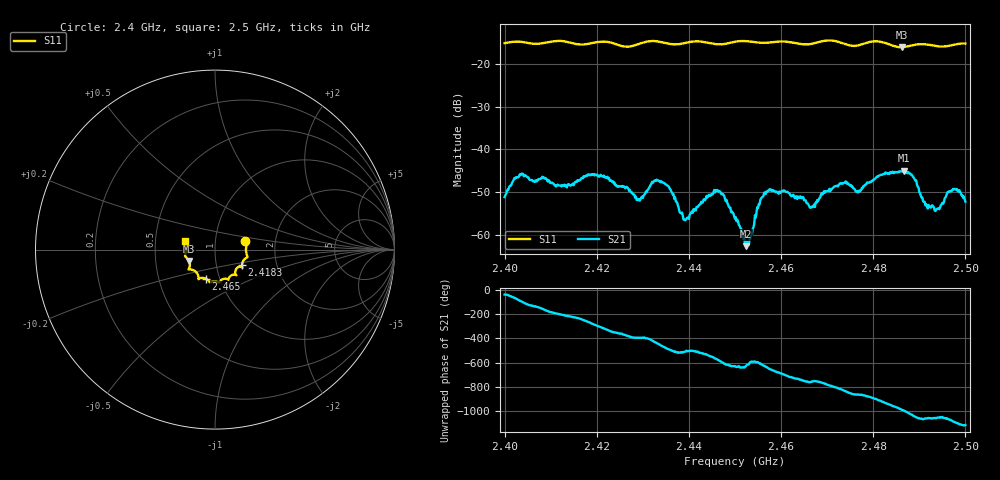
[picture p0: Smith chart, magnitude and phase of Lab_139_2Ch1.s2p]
# Hz S RI R 50
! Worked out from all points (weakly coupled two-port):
!   601 points, 2.4 GHz to 2.5 GHz, reference 50 ohm
!   highest |S21| = -44.99 dB at 2.4867 GHz (marker M1); lowest = -62.7 dB at 2.4523 GHz (marker M2)
!   lowest |S11| = -16.1 dB at 2.4862 GHz (marker M3), VSWR 1.37, Z = 37.1 - j4.83 ohm
!   |S11| at or under -10 dB: start of sweep to end of sweep
!   S12 and S22 are empty: the file has one direction only
!   S11 on the Smith chart (normalised r, x): 2.4 GHz: 1.40, +0.13; 2.4183 GHz: 1.33, -0.24; 2.465 GHz: 0.86, -0.29; 2.5 GHz: 0.71, +0.07
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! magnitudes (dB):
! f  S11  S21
! 2.4 GHz  -15.1  -51.2
! 2.4035 GHz  -14.8  -46.1
! 2.4167 GHz  -15.4  -46.7
! 2.4183 GHz  -15.2  -45.9
! 2.4292 GHz  -15.3  -51.7
! 2.4333 GHz  -14.7  -47.3
! 2.4392 GHz  -15.1  -56.6
! 2.446 GHz  -15.4  -49.6
! 2.45 GHz  -14.8  -56.3
! 2.4523 GHz  -14.6  -62.7
! 2.4568 GHz  -15.0  -49.9
! 2.465 GHz  -15.4  -52.0
! 2.4667 GHz  -15.2  -53.4
! 2.473 GHz  -15.0  -48.0
! 2.4768 GHz  -15.6  -49.7
! 2.4833 GHz  -15.3  -45.6
! 2.4862 GHz  -16.1  -45.2
! 2.4867 GHz  -16.0  -45.0
! 2.4918 GHz  -15.4  -53.9
! 2.494 GHz  -15.8  -54.0
! 2.4977 GHz  -15.4  -49.3
! 2.5 GHz  -15.2  -52.3
